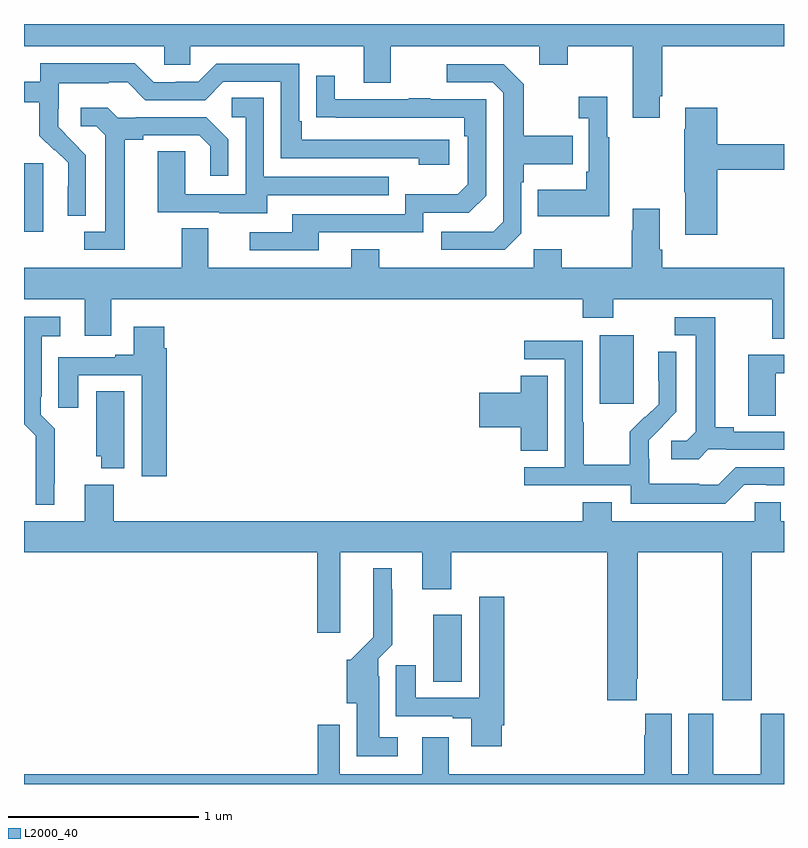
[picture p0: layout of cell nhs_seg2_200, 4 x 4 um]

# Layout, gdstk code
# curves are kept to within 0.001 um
import gdstk
lib = gdstk.Library(unit=1e-6, precision=1e-09)
def R(c, l, rs):  # rectangles x0, y0, x1, y1
    for r in rs: c.add(gdstk.rectangle(r[:2], r[2:], *l))
def P(c, l, *ps):  # polygons
    for p in ps: c.add(gdstk.Polygon(p, *l))
L2000_40 = (2000, 40)

nhs_seg2_200 = lib.new_cell('nhs_seg2_200')
R(nhs_seg2_200, L2000_40, [(123.155,596.338,123.304,596.692), (124.031,597.801,124.21,598.162), (121,598.706,121.102,599.067)])
P(nhs_seg2_200, L2000_40, [(124.345,599.419),(124.358,599.419),(124.358,599.684),(125,599.684),(125,599.8),(121,599.8),(121,599.684),(121.737,599.684),(121.737,599.586),(121.875,599.586),(121.875,599.684),(122.789,599.684),(122.789,599.49),(122.929,599.49),(122.929,599.684),(123.713,599.684),(123.713,599.585),(123.861,599.585),(123.861,599.684),(124.205,599.684),(124.205,599.307),(124.345,599.307)],
  [(121.326,599.11),(121.18,599.258),(121.18,599.355),(121.182,599.355),(121.182,599.489),(121.445,599.489),(121.445,599.493),(121.545,599.493),(121.638,599.4),(121.953,599.4),(122.049,599.496),(122.352,599.496),(122.352,599.094),(123.077,599.094),(123.077,599.06),(123.238,599.06),(123.238,599.19),(122.461,599.19),(122.461,599.287),(122.448,599.287),(122.448,599.592),(122.013,599.592),(121.917,599.496),(121.799,599.496),(121.799,599.493),(121.683,599.493),(121.583,599.593),(121.086,599.593),(121.086,599.496),(121,599.496),(121,599.388),(121.081,599.388),(121.081,599.213),(121.158,599.136),(121.161,599.139),(121.232,599.069),(121.232,598.946),(121.23,598.946),(121.23,598.792),(121.326,598.792)],
  [(123.618,598.698),(123.618,598.967),(123.631,598.967),(123.631,599.063),(123.887,599.063),(123.887,599.211),(123.631,599.211),(123.631,599.483),(123.525,599.589),(123.225,599.589),(123.225,599.493),(123.468,599.493),(123.522,599.439),(123.522,598.758),(123.471,598.707),(123.195,598.707),(123.195,598.611),(123.531,598.611)],
  [(122.551,598.704),(123.102,598.704),(123.102,598.806),(123.342,598.806),(123.432,598.896),(123.432,599.403),(123.137,599.403),(123.137,599.408),(123.025,599.408),(123.025,599.403),(122.635,599.403),(122.635,599.527),(122.539,599.527),(122.539,599.308),(123.316,599.307),(123.316,599.21),(123.336,599.21),(123.336,598.956),(123.283,598.903),(123.006,598.903),(123.006,598.8),(122.411,598.8),(122.411,598.704),(122.187,598.704),(122.187,598.608),(122.551,598.608)],
  [(124.081,599.203),(124.069,599.203),(124.069,599.416),(123.921,599.416),(123.921,599.303),(123.972,599.303),(123.972,599.023),(123.96,599.023),(123.96,598.927),(123.703,598.927),(123.703,598.787),(124.081,598.787)],
  [(122.281,598.899),(122.921,598.899),(122.921,598.995),(122.262,598.995),(122.262,599.411),(122.094,599.411),(122.094,599.31),(122.166,599.31),(122.166,598.905),(121.848,598.905),(121.848,599.129),(121.703,599.129),(121.703,598.809),(122.027,598.809),(122.027,598.805),(122.281,598.805)],
  [(124.649,599.032),(125,599.032),(125,599.168),(124.649,599.168),(124.649,599.359),(124.481,599.359),(124.481,599.246),(124.474,599.246),(124.474,598.915),(124.481,598.915),(124.481,598.692),(124.649,598.692)],
  [(121.531,599.192),(121.627,599.192),(121.627,599.214),(121.922,599.214),(121.979,599.157),(121.979,599.001),(122.076,599.001),(122.076,599.194),(121.96,599.31),(121.588,599.31),(121.588,599.307),(121.494,599.307),(121.442,599.359),(121.299,599.359),(121.299,599.262),(121.38,599.262),(121.427,599.215),(121.427,598.707),(121.317,598.707),(121.317,598.611),(121.531,598.611)],
  [(125,598.516),(124.358,598.516),(124.358,598.612),(124.345,598.612),(124.345,598.828),(124.205,598.828),(124.205,598.715),(124.198,598.715),(124.198,598.516),(123.831,598.516),(123.831,598.615),(123.684,598.615),(123.684,598.516),(122.871,598.516),(122.871,598.615),(122.723,598.615),(122.723,598.516),(121.969,598.516),(121.969,598.724),(121.829,598.724),(121.829,598.516),(121,598.516),(121,598.352),(121.319,598.352),(121.319,598.158),(121.459,598.158),(121.459,598.352),(123.941,598.352),(123.941,598.253),(124.101,598.253),(124.101,598.352),(124.937,598.352),(124.937,598.144),(125,598.144)],
  [(121.159,597.379),(121.163,597.379),(121.163,597.67),(121.089,597.744),(121.089,597.838),(121.093,597.838),(121.093,598.157),(121.192,598.157),(121.192,598.258),(121,598.258),(121,597.694),(121.062,597.632),(121.061,597.269),(121.159,597.269)],
  [(124.602,597.561),(124.696,597.561),(124.696,597.558),(125,597.558),(125,597.654),(124.735,597.654),(124.735,597.677),(124.639,597.677),(124.639,598.257),(124.425,598.257),(124.425,598.161),(124.535,598.161),(124.535,597.653),(124.488,597.606),(124.407,597.606),(124.407,597.509),(124.55,597.509)],
  [(121.751,598.094),(121.738,598.094),(121.738,598.207),(121.577,598.207),(121.577,598.06),(121.481,598.06),(121.481,598.047),(121.181,598.047),(121.181,597.78),(121.285,597.78),(121.285,597.951),(121.619,597.951),(121.619,597.42),(121.751,597.42)],
  [(124.791,597.375),(124.907,597.375),(124.907,597.372),(125,597.372),(125,597.468),(124.746,597.468),(124.653,597.375),(124.553,597.375),(124.553,597.379),(124.29,597.379),(124.29,597.513),(124.288,597.513),(124.288,597.61),(124.434,597.758),(124.434,598.076),(124.338,598.076),(124.338,597.922),(124.34,597.922),(124.34,597.8),(124.269,597.729),(124.266,597.732),(124.189,597.655),(124.189,597.481),(123.945,597.481),(123.945,597.704),(123.942,597.704),(123.942,598.134),(123.633,598.134),(123.633,598.035),(123.846,598.035),(123.846,597.468),(123.633,597.468),(123.633,597.372),(124.194,597.372),(124.194,597.275),(124.691,597.275)],
  [(124.956,597.963),(125,597.963),(125,598.059),(124.811,598.059),(124.811,597.739),(124.956,597.739)],
  [(123.757,597.95),(123.614,597.95),(123.614,597.86),(123.396,597.86),(123.396,597.677),(123.614,597.677),(123.614,597.553),(123.757,597.553)],
  [(121.528,597.866),(121.379,597.866),(121.379,597.525),(121.406,597.525),(121.406,597.461),(121.528,597.461)],
  [(124.225,596.353),(124.23,596.353),(124.23,597.02),(124.675,597.02),(124.675,596.241),(124.83,596.241),(124.83,597.02),(125,597.02),(125,597.184),(124.983,597.184),(124.983,597.282),(124.845,597.282),(124.845,597.184),(124.093,597.184),(124.093,597.283),(123.941,597.283),(123.941,597.184),(121.472,597.184),(121.472,597.376),(121.319,597.376),(121.319,597.184),(121,597.184),(121,597.02),(122.543,597.02),(122.543,596.595),(122.665,596.595),(122.665,597.02),(123.095,597.02),(123.095,596.826),(123.248,596.826),(123.248,597.02),(124.07,597.02),(124.07,596.241),(124.225,596.241)],
  [(122.968,596.047),(122.869,596.047),(122.869,596.366),(122.865,596.366),(122.865,596.46),(122.939,596.534),(122.939,596.825),(122.935,596.825),(122.935,596.935),(122.837,596.935),(122.838,596.572),(122.72,596.454),(122.699,596.454),(122.699,596.226),(122.75,596.226),(122.75,595.946),(122.968,595.946)],
  [(123.514,596.11),(123.527,596.11),(123.527,596.785),(123.395,596.785),(123.395,596.253),(123.061,596.253),(123.061,596.425),(122.957,596.425),(122.957,596.157),(123.257,596.157),(123.257,596.145),(123.353,596.145),(123.353,595.998),(123.514,595.998)],
  [(125,596.17),(124.877,596.17),(124.877,595.852),(124.627,595.852),(124.627,596.17),(124.496,596.17),(124.496,595.852),(124.408,595.852),(124.408,596.17),(124.271,596.17),(124.271,596.057),(124.265,596.057),(124.265,595.852),(123.235,595.852),(123.235,596.047),(123.095,596.047),(123.095,595.852),(122.661,595.852),(122.661,596.113),(122.545,596.113),(122.545,595.852),(121,595.852),(121,595.8),(125,595.8)])

lib.write_gds('nhs_seg2_200.gds')
